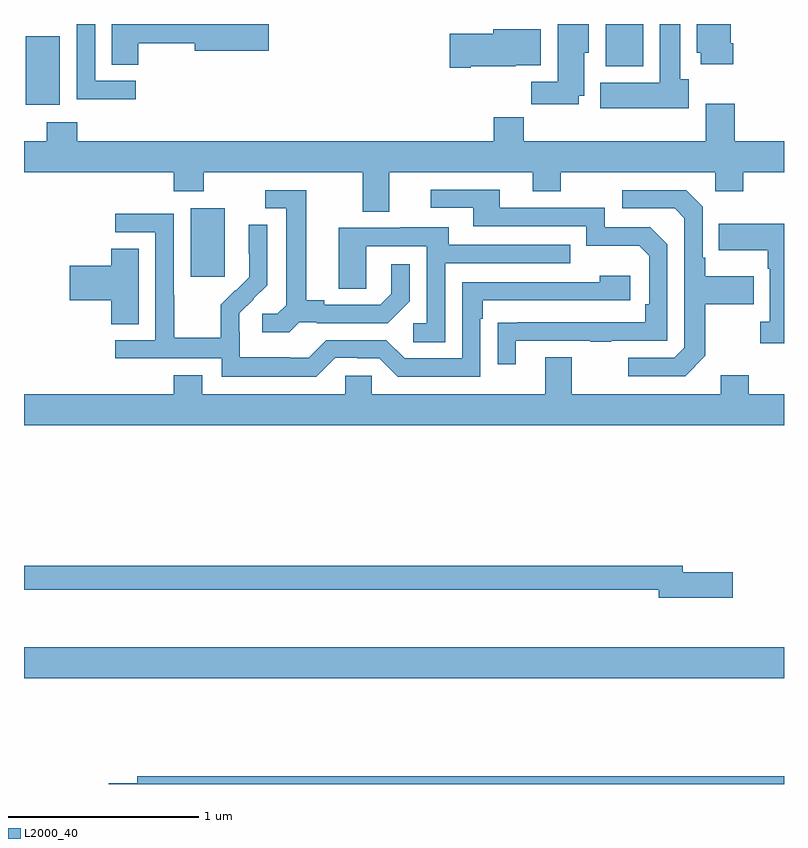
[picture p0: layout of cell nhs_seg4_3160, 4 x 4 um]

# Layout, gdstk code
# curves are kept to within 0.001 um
import gdstk
lib = gdstk.Library(unit=1e-6, precision=1e-09)
def R(c, l, rs):  # rectangles x0, y0, x1, y1
    for r in rs: c.add(gdstk.rectangle(r[:2], r[2:], *l))
def P(c, l, *ps):  # polygons
    for p in ps: c.add(gdstk.Polygon(p, *l))
L2000_40 = (2000, 40)

nhs_seg4_3160 = lib.new_cell('nhs_seg4_3160')
R(nhs_seg4_3160, L2000_40, [(277,827.456,281,827.62), (277.877,829.569,278.056,829.93), (277.01,830.474,277.189,830.835), (280.061,830.678,280.258,830.9)])
P(nhs_seg4_3160, L2000_40, [(280.733,830.8),(280.72,830.8),(280.72,830.9),(280.541,830.9),(280.541,830.748),(280.562,830.748),(280.562,830.688),(280.733,830.688)],
  [(277.602,830.8),(277.898,830.8),(277.898,830.758),(278.287,830.758),(278.287,830.9),(277.463,830.9),(277.463,830.686),(277.602,830.686)],
  [(277.588,830.601),(277.374,830.601),(277.374,830.9),(277.278,830.9),(277.278,830.503),(277.588,830.503)],
  [(280.498,830.61),(280.453,830.61),(280.453,830.9),(280.346,830.9),(280.346,830.59),(280.034,830.59),(280.034,830.456),(280.498,830.456)],
  [(279.919,830.522),(279.949,830.522),(279.949,830.748),(279.973,830.748),(279.973,830.9),(279.809,830.9),(279.809,830.596),(279.67,830.596),(279.67,830.478),(279.919,830.478)],
  [(279.352,830.678),(279.588,830.678),(279.588,830.684),(279.721,830.684),(279.721,830.872),(279.47,830.872),(279.47,830.849),(279.24,830.849),(279.24,830.671),(279.352,830.671)],
  [(278.923,830.12),(279.677,830.12),(279.677,830.021),(279.825,830.021),(279.825,830.12),(280.638,830.12),(280.638,830.021),(280.785,830.021),(280.785,830.12),(281,830.12),(281,830.284),(280.742,830.284),(280.742,830.479),(280.589,830.479),(280.589,830.284),(279.629,830.284),(279.629,830.408),(279.473,830.408),(279.473,830.284),(277.28,830.284),(277.28,830.383),(277.12,830.383),(277.12,830.284),(277,830.284),(277,830.12),(277.787,830.12),(277.787,830.021),(277.947,830.021),(277.947,830.12),(278.783,830.12),(278.783,829.912),(278.923,829.912)],
  [(279.589,829.233),(279.979,829.233),(279.979,829.228),(280.091,829.228),(280.091,829.233),(280.386,829.233),(280.386,829.74),(280.296,829.83),(280.056,829.83),(280.056,829.932),(279.505,829.932),(279.505,830.028),(279.141,830.028),(279.141,829.932),(279.365,829.932),(279.365,829.836),(279.96,829.836),(279.96,829.733),(280.237,829.733),(280.29,829.68),(280.29,829.426),(280.27,829.426),(280.27,829.329),(279.493,829.328),(279.493,829.11),(279.589,829.11)],
  [(280.585,829.153),(280.585,829.426),(280.841,829.426),(280.841,829.573),(280.585,829.573),(280.585,829.669),(280.572,829.669),(280.572,829.938),(280.485,830.025),(280.149,830.025),(280.149,829.929),(280.425,829.929),(280.476,829.878),(280.476,829.197),(280.422,829.143),(280.179,829.143),(280.179,829.047),(280.479,829.047)],
  [(278.448,829.329),(278.542,829.329),(278.542,829.326),(278.914,829.326),(279.03,829.442),(279.03,829.636),(278.933,829.636),(278.933,829.479),(278.876,829.422),(278.581,829.422),(278.581,829.445),(278.485,829.445),(278.485,830.025),(278.271,830.025),(278.271,829.929),(278.381,829.929),(278.381,829.421),(278.334,829.374),(278.253,829.374),(278.253,829.277),(278.396,829.277)],
  [(278.637,829.143),(278.753,829.143),(278.753,829.14),(278.871,829.14),(278.967,829.044),(279.402,829.044),(279.402,829.349),(279.415,829.349),(279.415,829.446),(280.192,829.446),(280.192,829.576),(280.031,829.576),(280.031,829.542),(279.306,829.542),(279.306,829.14),(279.003,829.14),(278.907,829.236),(278.592,829.236),(278.499,829.143),(278.399,829.143),(278.399,829.147),(278.136,829.147),(278.136,829.281),(278.134,829.281),(278.134,829.378),(278.28,829.526),(278.28,829.844),(278.184,829.844),(278.184,829.69),(278.186,829.69),(278.186,829.568),(278.115,829.497),(278.112,829.5),(278.035,829.423),(278.035,829.249),(277.791,829.249),(277.791,829.472),(277.788,829.472),(277.788,829.902),(277.479,829.902),(277.479,829.803),(277.692,829.803),(277.692,829.236),(277.479,829.236),(277.479,829.14),(278.04,829.14),(278.04,829.043),(278.537,829.043)],
  [(281,829.849),(280.657,829.849),(280.657,829.709),(280.914,829.709),(280.914,829.613),(280.926,829.613),(280.926,829.334),(280.875,829.334),(280.875,829.221),(281,829.221)],
  [(279.216,829.641),(279.875,829.641),(279.875,829.737),(279.235,829.737),(279.235,829.831),(278.981,829.831),(278.981,829.827),(278.657,829.827),(278.657,829.507),(278.802,829.507),(278.802,829.731),(279.12,829.731),(279.12,829.326),(279.048,829.326),(279.048,829.225),(279.216,829.225)],
  [(277.603,829.718),(277.46,829.718),(277.46,829.628),(277.242,829.628),(277.242,829.445),(277.46,829.445),(277.46,829.321),(277.603,829.321)],
  [(281,828.952),(280.815,828.952),(280.815,829.051),(280.667,829.051),(280.667,828.952),(279.883,828.952),(279.883,829.147),(279.743,829.147),(279.743,828.952),(278.829,828.952),(278.829,829.05),(278.691,829.05),(278.691,828.952),(277.939,828.952),(277.939,829.051),(277.787,829.051),(277.787,828.952),(277,828.952),(277,828.788),(281,828.788)],
  [(280.729,828.014),(280.468,828.014),(280.468,828.05),(277,828.05),(277,827.922),(280.34,827.922),(280.34,827.879),(280.729,827.879)],
  [(281,826.94),(277.595,826.94),(277.595,826.904),(277.446,826.904),(277.446,826.9),(281,826.9)])

lib.write_gds('nhs_seg4_3160.gds')
